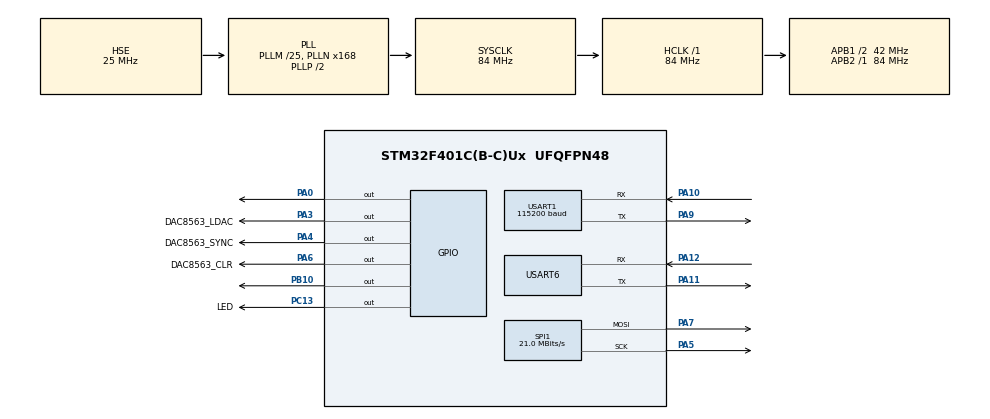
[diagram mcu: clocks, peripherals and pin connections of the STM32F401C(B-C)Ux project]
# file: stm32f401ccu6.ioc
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Mcu.Family=STM32F4
Mcu.Name=STM32F401C(B-C)Ux
Mcu.Package=UFQFPN48
NVIC.PriorityGroup=NVIC_PRIORITYGROUP_4
PA0-WKUP.GPIO_Speed=GPIO_SPEED_FREQ_VERY_HIGH
PA0-WKUP.Signal=GPIO_Output
PA10.Mode=Asynchronous
PA10.Signal=USART1_RX
PA11.Mode=Asynchronous
PA11.Signal=USART6_TX
PA12.Mode=Asynchronous
PA12.Signal=USART6_RX
PA13.Mode=Serial_Wire
PA13.Signal=SYS_JTMS-SWDIO
PA14.Mode=Serial_Wire
PA14.Signal=SYS_JTCK-SWCLK
PA3.GPIO_Label=DAC8563_LDAC
PA3.GPIO_Speed=GPIO_SPEED_FREQ_VERY_HIGH
PA3.PinState=GPIO_PIN_SET
PA3.Signal=GPIO_Output
PA4.GPIO_Label=DAC8563_SYNC
PA4.GPIO_Speed=GPIO_SPEED_FREQ_VERY_HIGH
PA4.Signal=GPIO_Output
PA5.Mode=TX_Only_Simplex_Unidirect_Master
PA5.Signal=SPI1_SCK
PA6.GPIO_Label=DAC8563_CLR
PA6.GPIO_Speed=GPIO_SPEED_FREQ_VERY_HIGH
PA6.Signal=GPIO_Output
PA7.Mode=TX_Only_Simplex_Unidirect_Master
PA7.Signal=SPI1_MOSI
PA9.Mode=Asynchronous
PA9.Signal=USART1_TX
PB10.GPIO_Speed=GPIO_SPEED_FREQ_VERY_HIGH
PB10.PinState=GPIO_PIN_RESET
PB10.Signal=GPIO_Output
PC13-ANTI_TAMP.GPIO_Label=LED
PC13-ANTI_TAMP.PinState=GPIO_PIN_SET
PC13-ANTI_TAMP.Signal=GPIO_Output
PH0\ -\ OSC_IN.Mode=HSE-External-Oscillator
PH0\ -\ OSC_IN.Signal=RCC_OSC_IN
PH1\ -\ OSC_OUT.Mode=HSE-External-Oscillator
PH1\ -\ OSC_OUT.Signal=RCC_OSC_OUT
ProjectManager.HeapSize=0x200
ProjectManager.StackSize=0x400
ProjectManager.TargetToolchain=MDK-ARM V5.32
RCC.48MHZClocksFreq_Value=42000000
RCC.AHBFreq_Value=84000000
RCC.APB1CLKDivider=RCC_HCLK_DIV2
RCC.APB1Freq_Value=42000000
RCC.APB1TimFreq_Value=84000000
RCC.APB2Freq_Value=84000000
RCC.APB2TimFreq_Value=84000000
RCC.CortexFreq_Value=84000000
RCC.HCLKFreq_Value=84000000
RCC.HSE_VALUE=25000000
RCC.HSI_VALUE=16000000
RCC.LSE_VALUE=32768
RCC.PLLM=25
RCC.PLLN=168
RCC.PLLSourceVirtual=RCC_PLLSOURCE_HSE
RCC.SYSCLKFreq_VALUE=84000000
RCC.SYSCLKSource=RCC_SYSCLKSOURCE_PLLCLK
RCC.VCOOutputFreq_Value=168000000
SPI1.BaudRatePrescaler=SPI_BAUDRATEPRESCALER_4
SPI1.CalculateBaudRate=21.0 MBits/s
SPI1.Direction=SPI_DIRECTION_2LINES
SPI1.Mode=SPI_MODE_MASTER
SPI1.VirtualType=VM_MASTER
USART1.BaudRate=115200
USART1.VirtualMode=VM_ASYNC
USART6.VirtualMode=VM_ASYNC
board=custom

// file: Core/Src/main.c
/* USER CODE BEGIN Header */
/**
  ******************************************************************************
  * @file           : main.c
  * @brief          : Main program body
  ******************************************************************************
  * @attention
  *
  * Copyright (c) 2025 STMicroelectronics.
  * All rights reserved.
  *
  * This software is licensed under terms that can be found in the LICENSE file
  * in the root directory of this software component.
  * If no LICENSE file comes with this software, it is provided AS-IS.
  *
  ******************************************************************************
  */
/* USER CODE END Header */
#include "main.h"
#include "spi.h"
#include "usart.h"
#include "gpio.h"

/* USER CODE BEGIN Includes */
#include "zzy_lib_delay.h"
#include "zzy_lib_uart_f4.h"
#include "dac8563.h"
#include <math.h>
#include <string.h>
#include <stdio.h>
/* USER CODE END Includes */

/* USER CODE BEGIN PTD */
typedef enum
{
  NONE,
  CIRCLE,
  RECTANGLE
} type_t;

typedef struct
{
  uint8_t active;
  uint8_t n;
  int16_t v[16][2];
} PolygonSlot;

typedef struct
{
  int16_t x, y;
  uint8_t blank;
} DisplayPoint;

typedef struct
{
  int16_t x;
  int16_t y;
} pose_t;

typedef struct
{
  type_t type;
  pose_t pose;
  uint16_t params[4];
} task_t;
/* USER CODE END PTD */

/* USER CODE BEGIN PD */
#define SPEEED 2.0f
/* USER CODE END PD */

/* USER CODE BEGIN PV */
const float PI = 3.14159265358979323846f;

task_t task_buf[10];
task_t task_buf_1[10];
volatile uint8_t flag_update = 0;
volatile uint8_t uart6_packet_ready = 0;
volatile uint16_t uart6_packet_len = 0;
uint8_t uart6_pending_buf[UART6_RX_BUF_SIZE];

int16_t current_x = 0;
int16_t current_y = 0;
uint8_t current_laser_state = 2; // 0=off, 1=on, 2=unknown

PolygonSlot polygon_slots[10];
PolygonSlot polygon_slots_1[10];

#define MAX_DL_POINTS 512
DisplayPoint display_list[MAX_DL_POINTS];
volatile uint16_t dl_count = 0;
volatile uint16_t dl_expected = 0;
volatile uint8_t dl_mode = 0; // 0=normal, 1=uploading, 2=scanning
/* USER CODE END PV */

void SystemClock_Config(void);

/* USER CODE BEGIN 0 */
void laser_on(void)
{
  if (current_laser_state == 1) return;
  HAL_GPIO_WritePin(GPIOB, GPIO_PIN_10, GPIO_PIN_SET);
  current_laser_state = 1;
}

void laser_off(void)
{
  if (current_laser_state == 0) return;
  HAL_GPIO_WritePin(GPIOB, GPIO_PIN_10, GPIO_PIN_RESET);
  current_laser_state = 0;
}

void move(int16_t x, int16_t y)
{
  if (x == current_x && y == current_y) return;

  float dx = x - current_x;
  float dy = y - current_y;
  float distance = sqrtf(dx * dx + dy * dy);
  int steps = (int)(distance / 100.0f) + 1;
  float step_dist = distance / steps;
  uint32_t delay = (uint32_t)(step_dist * SPEEED);
  if (delay == 0) delay = 1;

  int16_t start_x = current_x;
  int16_t start_y = current_y;

  for (int i = 1; i <= steps; ++i)
  {
    int16_t px = start_x + (int16_t)(dx * i / steps);
    int16_t py = start_y + (int16_t)(dy * i / steps);
    dac8563_output_int16(px, py);
    zjs_delay_us(delay);
  }
  current_x = x;
  current_y = y;
}

void draw_circle(int16_t x, int16_t y, uint16_t radius)
{
  laser_off();
  move(x + radius, y);
  laser_on();

  for (int i = 1; i <= 36; ++i)
  {
    float theta = (2.0f * PI * i) / 36.0f;
    int16_t target_x = (int16_t)(radius * cosf(theta) + x);
    int16_t target_y = (int16_t)(radius * sinf(theta) + y);

    move(target_x, target_y);
  }
  laser_off();
}

void draw_rectangle(int16_t x, int16_t y, uint16_t length, uint16_t height)
{
  int16_t p1_x = x + length / 2;
  int16_t p1_y = y + height / 2;

  int16_t p2_x = x - length / 2;
  int16_t p2_y = p1_y;

  int16_t p3_x = p2_x;
  int16_t p3_y = y - height / 2;

  int16_t p4_x = p1_x;
  int16_t p4_y = p3_y;

  laser_off();
  move(p1_x, p1_y);
  laser_on();

  move(p2_x, p2_y);
  move(p3_x, p3_y);
  move(p4_x, p4_y);
  move(p1_x, p1_y);

  laser_off();
}

void draw_polygon_slot(uint8_t slot)
{
  PolygonSlot *ps = &polygon_slots[slot];
  if (!ps->active || ps->n < 3) return;
  laser_off();
  move(ps->v[0][0], ps->v[0][1]);
  laser_on();
  for (uint8_t i = 1; i < ps->n; i++)
    move(ps->v[i][0], ps->v[i][1]);
  move(ps->v[0][0], ps->v[0][1]);
  laser_off();
}

void uart1_IDLE_callback(uint8_t *data, uint16_t num)
{
  if (num == 0) return;
  if (num >= UART1_RX_BUF_SIZE) num = UART1_RX_BUF_SIZE - 1;
  data[num] = '\0';
  char *buf = (char *)data;

  if (buf[0] == 'U')
  {
    flag_update = 1;
  }
  else if (buf[0] == 'G')
  {
    int16_t x, y;
    if (sscanf(&buf[1], "%hd,%hd", &x, &y) == 2)
    {
      dac8563_output_int16(x, y);
      current_x = x;
      current_y = y;
    }
  }
  else if (buf[0] == 'L')
  {
    if (buf[1] == '1') laser_on();
    else if (buf[1] == '0') laser_off();
  }
  else if (buf[0] == 'R')
  {
    int slot = buf[1] - '0';
    if (slot >= 0 && slot <= 9)
    {
      int16_t x, y;
      uint16_t length, height;
      if (sscanf(&buf[2], " %hd,%hd,%hu,%hu", &x, &y, &length, &height) == 4)
      {
        task_buf_1[slot].type = RECTANGLE;
        task_buf_1[slot].pose.x = x;
        task_buf_1[slot].pose.y = y;
        task_buf_1[slot].params[0] = length;
        task_buf_1[slot].params[1] = height;
      }
    }
  }
  else if (buf[0] == 'C')
  {
    int slot = buf[1] - '0';
    if (slot >= 0 && slot <= 9)
    {
      int16_t x, y;
      uint16_t radius;
      if (sscanf(&buf[2], " %hd,%hd,%hu", &x, &y, &radius) == 3)
      {
        task_buf_1[slot].type = CIRCLE;
        task_buf_1[slot].pose.x = x;
        task_buf_1[slot].pose.y = y;
        task_buf_1[slot].params[0] = radius;
      }
    }
  }
  else if (buf[0] == 'P')
  {
    int slot = buf[1] - '0';
    if (slot < 0 || slot > 9) return;
    int n = 0;
    int offset = 0;
    sscanf(&buf[2], " %d %n", &n, &offset);
    if (n == 0)
    {
      polygon_slots_1[slot].active = 0;
      polygon_slots_1[slot].n = 0;
      return;
    }
    if (n < 3 || n > 16) return;
    char *p = &buf[2] + offset;
    for (int k = 0; k < n; k++)
    {
      int16_t vx, vy;
      int consumed = 0;
      if (sscanf(p, "%hd,%hd%n", &vx, &vy, &consumed) < 2) break;
      polygon_slots_1[slot].v[k][0] = vx;
      polygon_slots_1[slot].v[k][1] = vy;
      p += consumed;
      if (*p == ',') p++;
    }
    polygon_slots_1[slot].n = (uint8_t)n;
    polygon_slots_1[slot].active = 1;
  }
  else if (buf[0] == 'D')
  {
    if (buf[1] == 'S')
    {
      dl_mode = 2;
    }
    else if (buf[1] == 'X')
    {
      dl_mode = 0;
      laser_off();
    }
    else if (buf[1] == '+')
    {
      if (dl_mode == 1 && dl_count < MAX_DL_POINTS)
      {
        int16_t x, y;
        int b;
        if (sscanf(&buf[2], " %hd,%hd,%d", &x, &y, &b) == 3)
        {
          display_list[dl_count].x = x;
          display_list[dl_count].y = y;
          display_list[dl_count].blank = (uint8_t)(b != 0);
          dl_count++;
        }
      }
    }
    else if (buf[1] >= '0' && buf[1] <= '9')
    {
      uint16_t n = 0;
      sscanf(&buf[1], "%hu", &n);
      if (n > MAX_DL_POINTS) n = MAX_DL_POINTS;
      dl_expected = n;
      dl_count = 0;
      dl_mode = 1;
    }
  }
}

pose_t get_next_pose(task_t *task)
{
  pose_t pose = task->pose;
  switch (task->type)
  {
  case CIRCLE:
    pose.x += task->params[0];
    break;

  case RECTANGLE:
    pose.x += task->params[0] / 2;
    pose.y += task->params[1] / 2;
    break;

  default:
    break;
  }

  return pose;
}

void apply_uart6_token(char *token)
{
  if (token == NULL || token[0] == '\0')
  {
    return;
  }

  if (token[0] == 'U')
  {
    flag_update = 1;
  }
  else if (token[0] >= '0' && token[0] <= '9')
  {
    int i = token[0] - '0';

    if (token[1] == 'C')
    {
      int16_t x;
      int16_t y;
      uint16_t radius;
      if (sscanf(&token[2], ",%hd,%hd,%hu", &x, &y, &radius) == 3)
      {
        task_buf_1[i].type = CIRCLE;
        task_buf_1[i].pose.x = x;
        task_buf_1[i].pose.y = y;
        task_buf_1[i].params[0] = radius;
      }
    }
    else if (token[1] == 'R')
    {
      int16_t x;
      int16_t y;
      uint16_t length;
      uint16_t height;
      if (sscanf(&token[2], ",%hd,%hd,%hu,%hu", &x, &y, &length, &height) == 4)
      {
        task_buf_1[i].type = RECTANGLE;
        task_buf_1[i].pose.x = x;
        task_buf_1[i].pose.y = y;
        task_buf_1[i].params[0] = length;
        task_buf_1[i].params[1] = height;
      }
    }
  }
}

void process_uart6_packet(void)
{
  uint8_t local_buf[UART6_RX_BUF_SIZE];
  uint16_t local_len = 0;
  char *token = NULL;

  __disable_irq();
  if (!uart6_packet_ready)
  {
    __enable_irq();
    return;
  }
  local_len = uart6_packet_len;
  memcpy(local_buf, uart6_pending_buf, local_len + 1);
  uart6_packet_ready = 0;
  uart6_packet_len = 0;
  __enable_irq();

  token = strtok((char *)local_buf, ";");
  while (token != NULL)
  {
    apply_uart6_token(token);
    token = strtok(NULL, ";");
  }
}

void uart6_IDLE_callback(uint8_t *data, uint16_t num)
{
  uint16_t available = 0;
  uint16_t copy_len = num;

  __disable_irq();
  available = (UART6_RX_BUF_SIZE - 1) - uart6_packet_len;
  __enable_irq();

  if (copy_len > available)
  {
    copy_len = available;
  }
  if (copy_len >= UART6_RX_BUF_SIZE)
  {
    copy_len = UART6_RX_BUF_SIZE - 1;
  }

  __disable_irq();
  memcpy(&uart6_pending_buf[uart6_packet_len], data, copy_len);
  uart6_packet_len += copy_len;
  uart6_pending_buf[uart6_packet_len] = '\0';
  if (copy_len > 0)
  {
    uart6_packet_ready = 1;
  }
  __enable_irq();

  UART6_ClearRx();
}

/* USER CODE END 0 */

int main(void)
{

  /* MCU Configuration--------------------------------------------------------*/

  /* Reset of all peripherals, Initializes the Flash interface and the Systick. */
  HAL_Init();

  /* Configure the system clock */
  SystemClock_Config();

  /* Initialize all configured peripherals */
  MX_GPIO_Init();
  MX_USART1_UART_Init();
  MX_SPI1_Init();
  MX_USART6_UART_Init();
  /* USER CODE BEGIN 2 */
  dac8563_init();
  memset((uint8_t *)task_buf, 0, sizeof(task_buf));
  memset((uint8_t *)task_buf_1, 0, sizeof(task_buf_1));
  memset((uint8_t *)uart6_pending_buf, 0, sizeof(uart6_pending_buf));

  UART1_Init();
  UART6_Init();
  UART1_Register_IDLE_callback(uart1_IDLE_callback);
  UART6_Register_IDLE_callback(uart6_IDLE_callback);
  memset((uint8_t *)polygon_slots,   0, sizeof(polygon_slots));
  memset((uint8_t *)polygon_slots_1, 0, sizeof(polygon_slots_1));
  laser_off();
  /* USER CODE END 2 */

  /* Infinite loop */
  while (1)
  {

    /* USER CODE BEGIN 3 */
    process_uart6_packet();

    if (dl_mode == 2)
    {
      for (uint16_t i = 0; i < dl_count && dl_mode == 2; i++)
      {
        if (display_list[i].blank) laser_off();
        else laser_on();
        move(display_list[i].x, display_list[i].y);
      }
    }
    else
    {
      task_t *current_task;
      for (current_task = &task_buf[0]; current_task->type != NONE; ++current_task)
      {
        switch (current_task->type)
        {
        case CIRCLE:
          GPIO_FAST_SETBIT(A, 0);
          draw_circle(current_task->pose.x, current_task->pose.y, current_task->params[0]);
          GPIO_FAST_RESETBIT(A, 0);
          break;

        case RECTANGLE:
          draw_rectangle(current_task->pose.x, current_task->pose.y, current_task->params[0], current_task->params[1]);
          break;

        default:
          break;
        }
      }

      for (uint8_t s = 0; s < 10; s++)
        draw_polygon_slot(s);
    }

    if (flag_update)
    {
      __disable_irq();
      memcpy((uint8_t *)task_buf,         (uint8_t *)task_buf_1,        sizeof(task_buf));
      memcpy((uint8_t *)polygon_slots,    (uint8_t *)polygon_slots_1,   sizeof(polygon_slots));
      memset((uint8_t *)task_buf_1,       0, sizeof(task_buf_1));
      memset((uint8_t *)polygon_slots_1,  0, sizeof(polygon_slots_1));
      flag_update = 0;
      __enable_irq();
    }
  }
  /* USER CODE END 3 */
}

void SystemClock_Config(void)
{
  RCC_OscInitTypeDef RCC_OscInitStruct = {0};
  RCC_ClkInitTypeDef RCC_ClkInitStruct = {0};

  /** Configure the main internal regulator output voltage
  */
  __HAL_RCC_PWR_CLK_ENABLE();
  __HAL_PWR_VOLTAGESCALING_CONFIG(PWR_REGULATOR_VOLTAGE_SCALE2);

  /** Initializes the RCC Oscillators according to the specified parameters
  * in the RCC_OscInitTypeDef structure.
  */
  RCC_OscInitStruct.OscillatorType = RCC_OSCILLATORTYPE_HSE;
  RCC_OscInitStruct.HSEState = RCC_HSE_ON;
  RCC_OscInitStruct.PLL.PLLState = RCC_PLL_ON;
  RCC_OscInitStruct.PLL.PLLSource = RCC_PLLSOURCE_HSE;
  RCC_OscInitStruct.PLL.PLLM = 25;
  RCC_OscInitStruct.PLL.PLLN = 168;
  RCC_OscInitStruct.PLL.PLLP = RCC_PLLP_DIV2;
  RCC_OscInitStruct.PLL.PLLQ = 4;
  if (HAL_RCC_OscConfig(&RCC_OscInitStruct) != HAL_OK)
  {
    Error_Handler();
  }

  /** Initializes the CPU, AHB and APB buses clocks
  */
  RCC_ClkInitStruct.ClockType = RCC_CLOCKTYPE_HCLK|RCC_CLOCKTYPE_SYSCLK
                              |RCC_CLOCKTYPE_PCLK1|RCC_CLOCKTYPE_PCLK2;
  RCC_ClkInitStruct.SYSCLKSource = RCC_SYSCLKSOURCE_PLLCLK;
  RCC_ClkInitStruct.AHBCLKDivider = RCC_SYSCLK_DIV1;
  RCC_ClkInitStruct.APB1CLKDivider = RCC_HCLK_DIV2;
  RCC_ClkInitStruct.APB2CLKDivider = RCC_HCLK_DIV1;

  if (HAL_RCC_ClockConfig(&RCC_ClkInitStruct, FLASH_LATENCY_2) != HAL_OK)
  {
    Error_Handler();
  }
}

void Error_Handler(void)
{
  __disable_irq();
  while (1)
  {
  }
}
